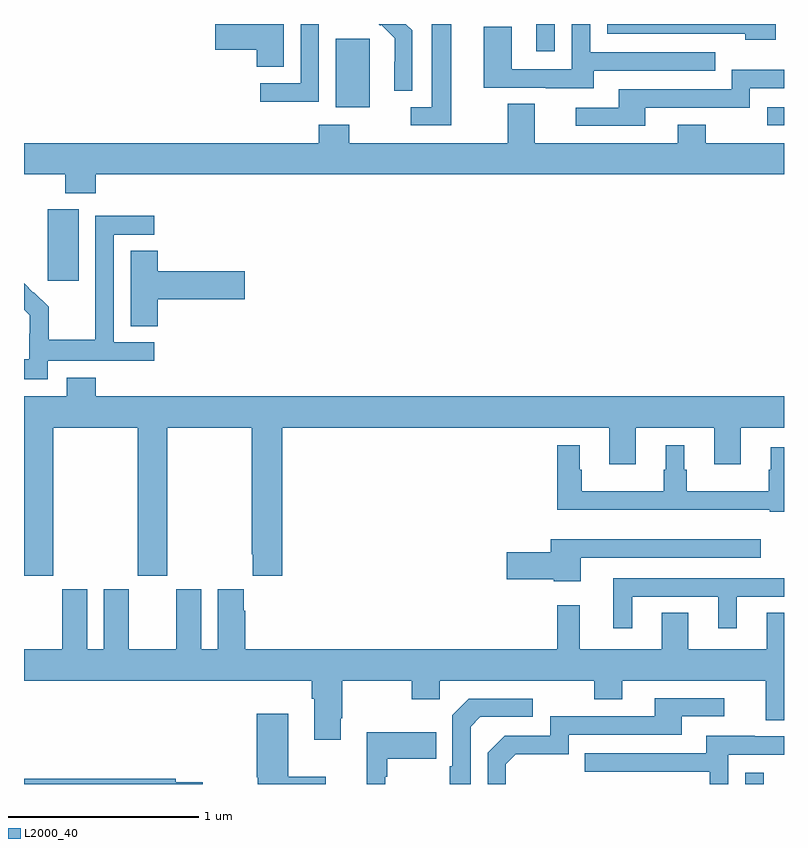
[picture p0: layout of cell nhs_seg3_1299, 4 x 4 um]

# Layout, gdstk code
import gdstk
lib = gdstk.Library(unit=1e-6, precision=1e-09)
def R(c, l, rs):  # rectangles x0, y0, x1, y1
    for r in rs: c.add(gdstk.rectangle(r[:2], r[2:], *l))
def P(c, l, *ps):  # polygons
    for p in ps: c.add(gdstk.Polygon(p, *l))
L2000_40 = (2000, 40)

nhs_seg3_1299 = lib.new_cell('nhs_seg3_1299')
R(nhs_seg3_1299, L2000_40, [(182.796,672.4,182.893,672.46), (179.126,675.048,179.287,675.424), (182.913,675.867,183,675.963), (180.641,675.962,180.82,676.323), (181.697,676.257,181.794,676.4)])
P(nhs_seg3_1299, L2000_40, [(181.044,676.366),(181.01,676.4),(180.868,676.4),(180.876,676.392),(180.879,676.395),(180.95,676.325),(180.95,676.202),(180.948,676.202),(180.948,676.048),(181.044,676.048)],
  [(180.367,676.4),(180.006,676.4),(180.006,676.265),(180.224,676.265),(180.224,676.174),(180.367,676.174)],
  [(181.249,676.4),(181.145,676.4),(181.145,675.963),(181.035,675.963),(181.035,675.867),(181.249,675.867)],
  [(182.956,676.4),(182.07,676.4),(182.07,676.35),(182.795,676.35),(182.795,676.316),(182.956,676.316)],
  [(180.552,676.4),(180.456,676.4),(180.456,676.089),(180.243,676.089),(180.243,675.991),(180.552,675.991)],
  [(181.999,676.155),(182.639,676.155),(182.639,676.251),(181.98,676.251),(181.98,676.4),(181.884,676.4),(181.884,676.161),(181.566,676.161),(181.566,676.385),(181.421,676.385),(181.421,676.065),(181.745,676.065),(181.745,676.061),(181.999,676.061)],
  [(182.269,675.96),(182.82,675.96),(182.82,676.062),(183,676.062),(183,676.159),(182.724,676.159),(182.724,676.056),(182.129,676.056),(182.129,675.96),(181.905,675.96),(181.905,675.864),(182.269,675.864)],
  [(179.378,675.608),(183,675.608),(183,675.772),(182.589,675.772),(182.589,675.871),(182.441,675.871),(182.441,675.772),(181.687,675.772),(181.687,675.98),(181.547,675.98),(181.547,675.772),(180.711,675.772),(180.711,675.871),(180.551,675.871),(180.551,675.772),(179,675.772),(179,675.608),(179.218,675.608),(179.218,675.509),(179.378,675.509)],
  [(179.124,674.628),(179.686,674.628),(179.686,674.724),(179.472,674.724),(179.472,675.291),(179.686,675.291),(179.686,675.39),(179.376,675.39),(179.376,674.96),(179.374,674.96),(179.374,674.737),(179.129,674.737),(179.129,674.911),(179.052,674.988),(179.049,674.985),(179,675.035),(179,674.896),(179.03,674.866),(179.03,674.769),(179.028,674.769),(179.028,674.635),(179,674.635),(179,674.531),(179.124,674.531)],
  [(179.705,674.951),(180.163,674.951),(180.163,675.098),(179.705,675.098),(179.705,675.206),(179.561,675.206),(179.561,674.809),(179.705,674.809)],
  [(179.154,674.276),(179.599,674.276),(179.599,673.497),(179.754,673.497),(179.754,674.276),(180.199,674.276),(180.199,673.609),(180.203,673.609),(180.203,673.497),(180.359,673.497),(180.359,674.276),(182.081,674.276),(182.081,674.082),(182.221,674.082),(182.221,674.276),(182.633,674.276),(182.633,674.082),(182.773,674.082),(182.773,674.276),(183,674.276),(183,674.44),(179.378,674.44),(179.378,674.539),(179.225,674.539),(179.225,674.44),(179,674.44),(179,673.497),(179.154,673.497)],
  [(183,674.172),(182.93,674.172),(182.93,674.054),(182.919,674.054),(182.919,673.942),(182.488,673.942),(182.488,674.054),(182.476,674.054),(182.476,674.182),(182.378,674.182),(182.378,674.054),(182.367,674.054),(182.367,673.942),(181.936,673.942),(181.936,674.054),(181.924,674.054),(181.924,674.182),(181.807,674.182),(181.807,673.844),(182.924,673.844),(182.924,673.833),(183,673.833)],
  [(181.93,673.59),(182.878,673.59),(182.878,673.687),(181.772,673.687),(181.772,673.619),(181.542,673.619),(181.542,673.477),(181.788,673.477),(181.788,673.466),(181.93,673.466)],
  [(182.2,673.386),(182.654,673.386),(182.654,673.221),(182.752,673.221),(182.752,673.386),(183,673.386),(183,673.482),(182.102,673.482),(182.102,673.221),(182.2,673.221)],
  [(180.164,673.313),(180.157,673.313),(180.157,673.426),(180.02,673.426),(180.02,673.108),(179.932,673.108),(179.932,673.426),(179.801,673.426),(179.801,673.108),(179.551,673.108),(179.551,673.426),(179.42,673.426),(179.42,673.108),(179.332,673.108),(179.332,673.426),(179.201,673.426),(179.201,673.108),(179,673.108),(179,672.944),(180.515,672.944),(180.515,672.848),(180.527,672.848),(180.527,672.633),(180.667,672.633),(180.667,672.745),(180.675,672.745),(180.675,672.944),(181.042,672.944),(181.042,672.845),(181.188,672.845),(181.188,672.944),(182.002,672.944),(182.002,672.845),(182.149,672.845),(182.149,672.944),(182.903,672.944),(182.903,672.736),(183,672.736),(183,673.301),(182.909,673.301),(182.909,673.108),(182.497,673.108),(182.497,673.301),(182.357,673.301),(182.357,673.108),(181.925,673.108),(181.925,673.342),(181.807,673.342),(181.807,673.108),(180.164,673.108)],
  [(181.536,672.504),(181.589,672.557),(181.866,672.557),(181.866,672.66),(182.461,672.66),(182.461,672.756),(182.686,672.756),(182.686,672.852),(182.321,672.852),(182.321,672.756),(181.77,672.756),(181.77,672.654),(181.53,672.654),(181.44,672.564),(181.44,672.4),(181.536,672.4)],
  [(181.35,672.702),(181.401,672.753),(181.678,672.753),(181.678,672.849),(181.341,672.849),(181.254,672.762),(181.254,672.493),(181.242,672.493),(181.242,672.4),(181.35,672.4)],
  [(180.589,672.439),(180.391,672.439),(180.391,672.769),(180.224,672.769),(180.224,672.435),(180.229,672.435),(180.229,672.4),(180.589,672.4)],
  [(180.9,672.437),(180.913,672.437),(180.913,672.533),(181.169,672.533),(181.169,672.673),(180.803,672.673),(180.803,672.4),(180.9,672.4)],
  [(182.706,672.555),(183,672.555),(183,672.651),(182.845,672.651),(182.845,672.655),(182.591,672.655),(182.591,672.561),(181.951,672.561),(181.951,672.465),(182.61,672.465),(182.61,672.4),(182.706,672.4)],
  [(179.94,672.408),(179.798,672.408),(179.798,672.428),(179,672.428),(179,672.4),(179.94,672.4)])

lib.write_gds('nhs_seg3_1299.gds')
